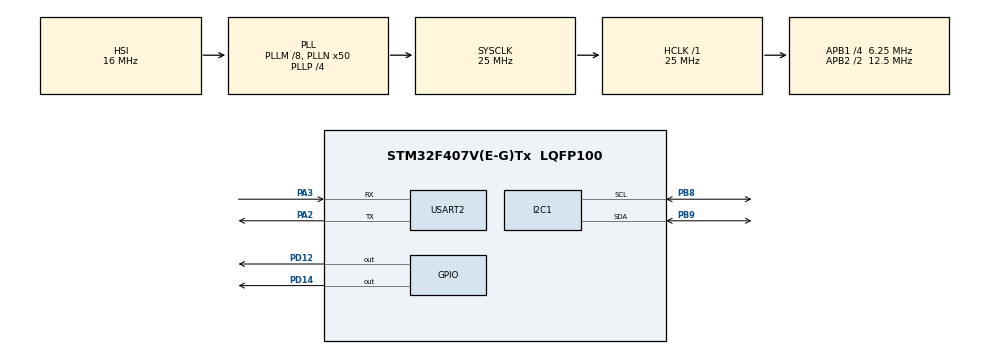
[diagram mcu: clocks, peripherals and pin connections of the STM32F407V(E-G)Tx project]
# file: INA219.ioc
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Mcu.Family=STM32F4
Mcu.Name=STM32F407V(E-G)Tx
Mcu.Package=LQFP100
NVIC.PriorityGroup=NVIC_PRIORITYGROUP_0
PA2.Mode=Asynchronous
PA2.Signal=USART2_TX
PA3.Mode=Asynchronous
PA3.Signal=USART2_RX
PB8.Mode=I2C
PB8.Signal=I2C1_SCL
PB9.Mode=I2C
PB9.Signal=I2C1_SDA
PD12.Signal=GPIO_Output
PD14.Signal=GPIO_Output
ProjectManager.HeapSize=0x200
ProjectManager.StackSize=0x400
ProjectManager.TargetToolchain=STM32CubeIDE
RCC.48MHZClocksFreq_Value=14285714.285714285
RCC.AHBFreq_Value=25000000
RCC.APB1CLKDivider=RCC_HCLK_DIV4
RCC.APB1Freq_Value=6250000
RCC.APB1TimFreq_Value=12500000
RCC.APB2CLKDivider=RCC_HCLK_DIV2
RCC.APB2Freq_Value=12500000
RCC.APB2TimFreq_Value=25000000
RCC.CortexFreq_Value=25000000
RCC.HCLKFreq_Value=25000000
RCC.HSE_VALUE=8000000
RCC.HSI_VALUE=16000000
RCC.LSE_VALUE=32768
RCC.PLLM=8
RCC.PLLN=50
RCC.PLLP=RCC_PLLP_DIV4
RCC.PLLQ=7
RCC.SYSCLKFreq_VALUE=25000000
RCC.SYSCLKSource=RCC_SYSCLKSOURCE_PLLCLK
RCC.VCOOutputFreq_Value=100000000
USART2.VirtualMode=VM_ASYNC
board=STM32F407G-DISC1

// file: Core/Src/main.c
/* USER CODE BEGIN Header */
/**
  ******************************************************************************
  * @file           : main.c
  * @brief          : Main program body
  ******************************************************************************
  * @attention
  *
  * Copyright (c) 2026 STMicroelectronics.
  * All rights reserved.
  *
  * This software is licensed under terms that can be found in the LICENSE file
  * in the root directory of this software component.
  * If no LICENSE file comes with this software, it is provided AS-IS.
  *
  ******************************************************************************
  */
/* USER CODE END Header */
#include "main.h"

/* USER CODE BEGIN Includes */
#include<stdio.h>

/* USER CODE END Includes */

/* USER CODE BEGIN PD */
#define INA219_ADDR             (0x40 << 1)

#define INA219_REG_CONFIG       0x00
#define INA219_REG_CALIBRATION  0x05
#define INA219_REG_CURRENT      0x04
/* USER CODE END PD */

I2C_HandleTypeDef hi2c1;

UART_HandleTypeDef huart2;

void SystemClock_Config(void);
static void MX_GPIO_Init(void);
static void MX_I2C1_Init(void);
static void MX_USART2_UART_Init(void);
/* USER CODE BEGIN PFP */
void INA219_WriteReg(uint8_t reg, uint16_t value);
uint16_t INA219_ReadReg(uint8_t reg);

/* USER CODE END PFP */

int main(void)
{

  /* MCU Configuration--------------------------------------------------------*/

  /* Reset of all peripherals, Initializes the Flash interface and the Systick. */
  HAL_Init();

  /* Configure the system clock */
  SystemClock_Config();

  /* Initialize all configured peripherals */
  MX_GPIO_Init();
  MX_I2C1_Init();
  MX_USART2_UART_Init();
  /* USER CODE BEGIN 2 */
  INA219_WriteReg(INA219_REG_CALIBRATION, 4096);

  /* USER CODE END 2 */

  /* Infinite loop */
  /* USER CODE BEGIN WHILE */
  while (1)
  {
	  int16_t raw_current;
	      float current_mA;

	      raw_current = (int16_t)INA219_ReadReg(INA219_REG_CURRENT);

	      current_mA = raw_current * 0.1f;

	      printf("Current = %.2f mA\r\n", current_mA);

	      HAL_Delay(1000);
    /* USER CODE END WHILE */

  }
}

void SystemClock_Config(void)
{
  RCC_OscInitTypeDef RCC_OscInitStruct = {0};
  RCC_ClkInitTypeDef RCC_ClkInitStruct = {0};

  /** Configure the main internal regulator output voltage
  */
  __HAL_RCC_PWR_CLK_ENABLE();
  __HAL_PWR_VOLTAGESCALING_CONFIG(PWR_REGULATOR_VOLTAGE_SCALE1);

  /** Initializes the RCC Oscillators according to the specified parameters
  * in the RCC_OscInitTypeDef structure.
  */
  RCC_OscInitStruct.OscillatorType = RCC_OSCILLATORTYPE_HSI;
  RCC_OscInitStruct.HSIState = RCC_HSI_ON;
  RCC_OscInitStruct.HSICalibrationValue = RCC_HSICALIBRATION_DEFAULT;
  RCC_OscInitStruct.PLL.PLLState = RCC_PLL_ON;
  RCC_OscInitStruct.PLL.PLLSource = RCC_PLLSOURCE_HSI;
  RCC_OscInitStruct.PLL.PLLM = 8;
  RCC_OscInitStruct.PLL.PLLN = 50;
  RCC_OscInitStruct.PLL.PLLP = RCC_PLLP_DIV4;
  RCC_OscInitStruct.PLL.PLLQ = 7;
  if (HAL_RCC_OscConfig(&RCC_OscInitStruct) != HAL_OK)
  {
    Error_Handler();
  }

  /** Initializes the CPU, AHB and APB buses clocks
  */
  RCC_ClkInitStruct.ClockType = RCC_CLOCKTYPE_HCLK|RCC_CLOCKTYPE_SYSCLK
                              |RCC_CLOCKTYPE_PCLK1|RCC_CLOCKTYPE_PCLK2;
  RCC_ClkInitStruct.SYSCLKSource = RCC_SYSCLKSOURCE_PLLCLK;
  RCC_ClkInitStruct.AHBCLKDivider = RCC_SYSCLK_DIV1;
  RCC_ClkInitStruct.APB1CLKDivider = RCC_HCLK_DIV4;
  RCC_ClkInitStruct.APB2CLKDivider = RCC_HCLK_DIV2;

  if (HAL_RCC_ClockConfig(&RCC_ClkInitStruct, FLASH_LATENCY_0) != HAL_OK)
  {
    Error_Handler();
  }
}

static void MX_I2C1_Init(void)
{

  hi2c1.Instance = I2C1;
  hi2c1.Init.ClockSpeed = 100000;
  hi2c1.Init.DutyCycle = I2C_DUTYCYCLE_2;
  hi2c1.Init.OwnAddress1 = 0;
  hi2c1.Init.AddressingMode = I2C_ADDRESSINGMODE_7BIT;
  hi2c1.Init.DualAddressMode = I2C_DUALADDRESS_DISABLE;
  hi2c1.Init.OwnAddress2 = 0;
  hi2c1.Init.GeneralCallMode = I2C_GENERALCALL_DISABLE;
  hi2c1.Init.NoStretchMode = I2C_NOSTRETCH_DISABLE;
  if (HAL_I2C_Init(&hi2c1) != HAL_OK)
  {
    Error_Handler();
  }

}

static void MX_USART2_UART_Init(void)
{

  huart2.Instance = USART2;
  huart2.Init.BaudRate = 115200;
  huart2.Init.WordLength = UART_WORDLENGTH_8B;
  huart2.Init.StopBits = UART_STOPBITS_1;
  huart2.Init.Parity = UART_PARITY_NONE;
  huart2.Init.Mode = UART_MODE_TX_RX;
  huart2.Init.HwFlowCtl = UART_HWCONTROL_NONE;
  huart2.Init.OverSampling = UART_OVERSAMPLING_16;
  if (HAL_UART_Init(&huart2) != HAL_OK)
  {
    Error_Handler();
  }

}

static void MX_GPIO_Init(void)
{
  GPIO_InitTypeDef GPIO_InitStruct = {0};

  /* GPIO Ports Clock Enable */
  __HAL_RCC_GPIOA_CLK_ENABLE();
  __HAL_RCC_GPIOD_CLK_ENABLE();
  __HAL_RCC_GPIOB_CLK_ENABLE();

  /*Configure GPIO pin Output Level */
  HAL_GPIO_WritePin(GPIOD, GPIO_PIN_12|GPIO_PIN_14, GPIO_PIN_RESET);

  /*Configure GPIO pins : PD12 PD14 */
  GPIO_InitStruct.Pin = GPIO_PIN_12|GPIO_PIN_14;
  GPIO_InitStruct.Mode = GPIO_MODE_OUTPUT_PP;
  GPIO_InitStruct.Pull = GPIO_NOPULL;
  GPIO_InitStruct.Speed = GPIO_SPEED_FREQ_LOW;
  HAL_GPIO_Init(GPIOD, &GPIO_InitStruct);

}

/* USER CODE BEGIN 4 */
void INA219_WriteReg(uint8_t reg, uint16_t value)
{
    uint8_t data[3];

    data[0] = reg;
    data[1] = (value >> 8) & 0xFF;
    data[2] = value & 0xFF;

    HAL_I2C_Master_Transmit(&hi2c1, INA219_ADDR, data, 3, HAL_MAX_DELAY);
}

uint16_t INA219_ReadReg(uint8_t reg)
{
    uint8_t data[2];
    uint16_t value;

    HAL_I2C_Master_Transmit(&hi2c1, INA219_ADDR, &reg, 1, HAL_MAX_DELAY);
    HAL_I2C_Master_Receive(&hi2c1, INA219_ADDR, data, 2, HAL_MAX_DELAY);

    value = (data[0] << 8) | data[1];

    return value;
}
int _write(int file, char *ptr, int len)
{
    HAL_UART_Transmit(&huart2, (uint8_t *)ptr, len, HAL_MAX_DELAY);
    return len;
}

/* USER CODE END 4 */

void Error_Handler(void)
{
  __disable_irq();
  while (1)
  {
  }
}
